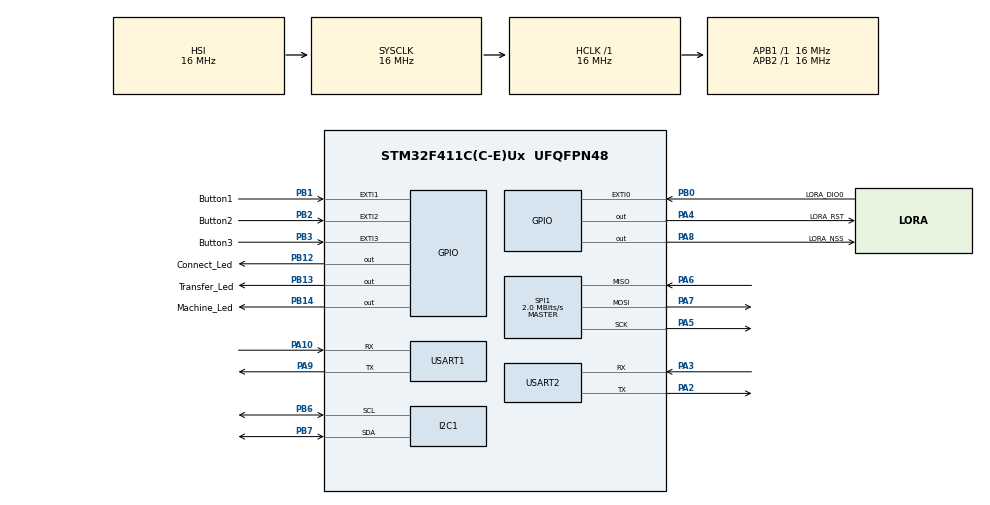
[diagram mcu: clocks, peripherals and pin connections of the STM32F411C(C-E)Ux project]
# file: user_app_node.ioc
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Dma.Request0=USART1_RX
Dma.USART1_RX.0.Direction=DMA_PERIPH_TO_MEMORY
Dma.USART1_RX.0.FIFOMode=DMA_FIFOMODE_DISABLE
Dma.USART1_RX.0.Instance=DMA2_Stream2
Dma.USART1_RX.0.MemDataAlignment=DMA_MDATAALIGN_BYTE
Dma.USART1_RX.0.MemInc=DMA_MINC_ENABLE
Dma.USART1_RX.0.Mode=DMA_NORMAL
Dma.USART1_RX.0.PeriphDataAlignment=DMA_PDATAALIGN_BYTE
Dma.USART1_RX.0.PeriphInc=DMA_PINC_DISABLE
Dma.USART1_RX.0.Priority=DMA_PRIORITY_LOW
Mcu.Family=STM32F4
Mcu.Name=STM32F411C(C-E)Ux
Mcu.Package=UFQFPN48
NVIC.DMA2_Stream2_IRQn=true\:4\:0\:true\:false\:true\:false\:true\:true
NVIC.EXTI0_IRQn=true\:3\:0\:true\:false\:true\:true\:true\:true
NVIC.EXTI1_IRQn=true\:5\:0\:true\:false\:true\:true\:true\:true
NVIC.EXTI2_IRQn=true\:5\:0\:true\:false\:true\:true\:true\:true
NVIC.EXTI3_IRQn=true\:5\:0\:true\:false\:true\:true\:true\:true
NVIC.PriorityGroup=NVIC_PRIORITYGROUP_4
NVIC.TIM3_IRQn=true\:3\:0\:true\:false\:true\:true\:true\:true
NVIC.TIM4_IRQn=true\:0\:0\:true\:false\:true\:false\:true\:true
NVIC.TimeBase=TIM4_IRQn
NVIC.TimeBaseIP=TIM4
NVIC.USART1_IRQn=true\:4\:0\:true\:false\:true\:true\:true\:true
PA10.Mode=Asynchronous
PA10.Signal=USART1_RX
PA13.Mode=Serial_Wire
PA13.Signal=SYS_JTMS-SWDIO
PA14.Mode=Serial_Wire
PA14.Signal=SYS_JTCK-SWCLK
PA2.Mode=Asynchronous
PA2.Signal=USART2_TX
PA3.Mode=Asynchronous
PA3.Signal=USART2_RX
PA4.GPIO_Label=LORA_RST
PA4.Signal=GPIO_Output
PA5.Mode=Full_Duplex_Master
PA5.Signal=SPI1_SCK
PA6.Mode=Full_Duplex_Master
PA6.Signal=SPI1_MISO
PA7.Mode=Full_Duplex_Master
PA7.Signal=SPI1_MOSI
PA8.GPIO_Label=LORA_NSS
PA8.Signal=GPIO_Output
PA9.Mode=Asynchronous
PA9.Signal=USART1_TX
PB0.GPIO_Label=LORA_DIO0
PB0.GPIO_ModeDefaultEXTI=GPIO_MODE_IT_RISING
PB0.Signal=GPXTI0
PB1.GPIO_Label=Button1
PB1.Signal=GPXTI1
PB12.GPIO_Label=Connect_Led
PB12.Signal=GPIO_Output
PB13.GPIO_Label=Transfer_Led
PB13.Signal=GPIO_Output
PB14.GPIO_Label=Machine_Led
PB14.Signal=GPIO_Output
PB2.GPIO_Label=Button2
PB2.Signal=GPXTI2
PB3.GPIO_Label=Button3
PB3.Signal=GPXTI3
PB6.Mode=I2C
PB6.Signal=I2C1_SCL
PB7.Mode=I2C
PB7.Signal=I2C1_SDA
PH0\ -\ OSC_IN.Mode=HSE-External-Oscillator
PH0\ -\ OSC_IN.Signal=RCC_OSC_IN
PH1\ -\ OSC_OUT.Mode=HSE-External-Oscillator
PH1\ -\ OSC_OUT.Signal=RCC_OSC_OUT
ProjectManager.HeapSize=0x200
ProjectManager.StackSize=0x400
ProjectManager.TargetToolchain=STM32CubeIDE
RCC.AHBFreq_Value=16000000
RCC.APB1Freq_Value=16000000
RCC.APB2Freq_Value=16000000
RCC.CortexFreq_Value=16000000
RCC.HSE_VALUE=25000000
RCC.HSI_VALUE=16000000
RCC.LSE_VALUE=32768
RCC.SYSCLKFreq_VALUE=16000000
RCC.VCOOutputFreq_Value=192000000
SPI1.BaudRatePrescaler=SPI_BAUDRATEPRESCALER_8
SPI1.CalculateBaudRate=2.0 MBits/s
SPI1.Direction=SPI_DIRECTION_2LINES
SPI1.Mode=SPI_MODE_MASTER
SPI1.VirtualType=VM_MASTER
TIM3.Period=30-1
TIM3.Prescaler=16000-1
USART1.VirtualMode=VM_ASYNC
USART2.VirtualMode=VM_ASYNC
VP_SYS_VS_tim4.Mode=TIM4
VP_TIM3_VS_ClockSourceINT.Mode=Internal
board=custom

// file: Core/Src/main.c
/* USER CODE BEGIN Header */
/**
  ******************************************************************************
  * @file           : main.c
  * @brief          : Main program body
  ******************************************************************************
  * @attention
  *
  * Copyright (c) 2025 STMicroelectronics.
  * All rights reserved.
  *
  * This software is licensed under terms that can be found in the LICENSE file
  * in the root directory of this software component.
  * If no LICENSE file comes with this software, it is provided AS-IS.
  *
  ******************************************************************************
  */
/* USER CODE END Header */
#include "main.h"
#include "bsp_sim.h"
#include "lora_network_node.h"

/* USER CODE BEGIN Includes */

volatile uint8_t test_warning_flag = 0;

/* USER CODE END Includes */

I2C_HandleTypeDef hi2c1;

SPI_HandleTypeDef hspi1;

TIM_HandleTypeDef htim3;

UART_HandleTypeDef huart1;
UART_HandleTypeDef huart2;
DMA_HandleTypeDef hdma_usart1_rx;

/* USER CODE BEGIN PV */
const char apn[]  = "m3-world"; // Change this to your Provider details
const char host[] = "tcp://mqtt.eclipseprojects.io"; // Change this to your host
const int  port = 1883;
const char username[] = "";
const char password[] = "";
const char topic[] = "lequanglam18112003@gmail.com/pub_topic";
const uint32_t timeOut =10000;
char ATcommand[80];
uint8_t buffer[160] = {0};
uint8_t ATisOK = 0;
uint8_t CGREGisOK = 0;
uint32_t previousTick;
uint16_t readValue;
char charData[15] = "hello\r\n";

void SIMTransmit(char *cmd)
{
  memset(buffer,0,sizeof(buffer));
  HAL_UART_Transmit(&huart1,(uint8_t *)cmd,strlen(cmd),1000);
  HAL_UART_Receive (&huart1, buffer, 100, 1000);
}

void mqttPublish(void)
{
  ATisOK = 0;
  CGREGisOK = 0;

  // Check for OK response for AT
  previousTick =  HAL_GetTick();
  while(!ATisOK && previousTick  + timeOut >  HAL_GetTick())
  {
    SIMTransmit("AT\r\n");
    HAL_Delay(1000);
    if(strstr((char *)buffer,"OK"))
    {
      ATisOK = 1;
      SIMTransmit("ATE0\r\n");
      //HAL_Delay(1000);
    }
  }

  // Check for network registration.
  if(ATisOK)
  {
    previousTick =  HAL_GetTick();
    while(!CGREGisOK  && previousTick  + timeOut >  HAL_GetTick())
    {
      SIMTransmit("AT+CGREG?\r\n");
      if(strstr((char *)buffer,"+CGREG: 0,1")) // Use 0,5 For Roaming
      {
        CGREGisOK = 1;
      }
    }
  }

  // If registered
  if(CGREGisOK)
  {
	sprintf(ATcommand,"AT+CGDCONT=1,\"IP\",\"%s\"\r\n",apn); // Specify the value of  PDP context
	SIMTransmit(ATcommand);
	HAL_Delay(2000);
	SIMTransmit("AT+CMQTTSTART\r\n"); // Start MQTT Service
	SIMTransmit("AT+CMQTTACCQ=0,\"client01\"\r\n"); // Acquire a Client
	sprintf(ATcommand,"AT+CMQTTCONNECT=0,\"%s:%d\",60,1\r\n",host,port); // Connect to a MQTT Server
	// sprintf(ATcommand,"AT+CMQTTCONNECT=0,\"%s:%d\",60,1,%s,%s\r\n",host,port,username,password);
	SIMTransmit(ATcommand);
	sprintf(ATcommand,"AT+CMQTTTOPIC=0,%d\r\n",strlen(topic)); // Set the topic for publish message
	SIMTransmit(ATcommand);
	sprintf(ATcommand,"%s\r\n",topic);
	SIMTransmit(ATcommand);
	sprintf(ATcommand,"AT+CMQTTPAYLOAD=0,%d\r\n",strlen(charData)-2); // Set the payload
	SIMTransmit(ATcommand);
	SIMTransmit(charData);
	SIMTransmit("AT+CMQTTPUB=0,1,60\r\n"); // Publish
	HAL_Delay(500);
	SIMTransmit("AT+CMQTTDISC=0,120\r\n"); // Disconnect from Server
	SIMTransmit("AT+CMQTTREL=0\r\n"); // Release the Client
	SIMTransmit("AT+CMQTTSTOP\r\n"); // Stop MQTT Service
  }
}

void HAL_GPIO_EXTI_Callback(uint16_t GPIO_Pin){
	if(GPIO_Pin == Button1_Pin){
		test_warning_flag = 1;
	}

	else if(GPIO_Pin == LORA_DIO0_Pin){
		lora_network_irq_handle();
	}

}
/* USER CODE END PV */

void SystemClock_Config(void);
static void MX_GPIO_Init(void);
static void MX_DMA_Init(void);
static void MX_SPI1_Init(void);
static void MX_I2C1_Init(void);
static void MX_USART1_UART_Init(void);
static void MX_USART2_UART_Init(void);
static void MX_TIM3_Init(void);

int main(void)
{

  /* MCU Configuration--------------------------------------------------------*/

  /* Reset of all peripherals, Initializes the Flash interface and the Systick. */
  HAL_Init();

  /* Configure the system clock */
  SystemClock_Config();

  /* Initialize all configured peripherals */
  MX_GPIO_Init();
  MX_DMA_Init();
  MX_SPI1_Init();
  MX_I2C1_Init();
  MX_USART1_UART_Init();
  MX_USART2_UART_Init();
  MX_TIM3_Init();
  /* USER CODE BEGIN 2 */

  //bsp_sim_init_mqtt();

  //HAL_Delay(60000);
  lora_network_init();
  /* USER CODE END 2 */

  /* Infinite loop */
  /* USER CODE BEGIN WHILE */
  while (1)
  {
	  lora_network_process();
    /* USER CODE END WHILE */

  }
}

void SystemClock_Config(void)
{
  RCC_OscInitTypeDef RCC_OscInitStruct = {0};
  RCC_ClkInitTypeDef RCC_ClkInitStruct = {0};

  /** Configure the main internal regulator output voltage
  */
  __HAL_RCC_PWR_CLK_ENABLE();
  __HAL_PWR_VOLTAGESCALING_CONFIG(PWR_REGULATOR_VOLTAGE_SCALE1);

  /** Initializes the RCC Oscillators according to the specified parameters
  * in the RCC_OscInitTypeDef structure.
  */
  RCC_OscInitStruct.OscillatorType = RCC_OSCILLATORTYPE_HSI;
  RCC_OscInitStruct.HSIState = RCC_HSI_ON;
  RCC_OscInitStruct.HSICalibrationValue = RCC_HSICALIBRATION_DEFAULT;
  RCC_OscInitStruct.PLL.PLLState = RCC_PLL_NONE;
  if (HAL_RCC_OscConfig(&RCC_OscInitStruct) != HAL_OK)
  {
    Error_Handler();
  }

  /** Initializes the CPU, AHB and APB buses clocks
  */
  RCC_ClkInitStruct.ClockType = RCC_CLOCKTYPE_HCLK|RCC_CLOCKTYPE_SYSCLK
                              |RCC_CLOCKTYPE_PCLK1|RCC_CLOCKTYPE_PCLK2;
  RCC_ClkInitStruct.SYSCLKSource = RCC_SYSCLKSOURCE_HSI;
  RCC_ClkInitStruct.AHBCLKDivider = RCC_SYSCLK_DIV1;
  RCC_ClkInitStruct.APB1CLKDivider = RCC_HCLK_DIV1;
  RCC_ClkInitStruct.APB2CLKDivider = RCC_HCLK_DIV1;

  if (HAL_RCC_ClockConfig(&RCC_ClkInitStruct, FLASH_LATENCY_0) != HAL_OK)
  {
    Error_Handler();
  }
}

static void MX_I2C1_Init(void)
{

  hi2c1.Instance = I2C1;
  hi2c1.Init.ClockSpeed = 100000;
  hi2c1.Init.DutyCycle = I2C_DUTYCYCLE_2;
  hi2c1.Init.OwnAddress1 = 0;
  hi2c1.Init.AddressingMode = I2C_ADDRESSINGMODE_7BIT;
  hi2c1.Init.DualAddressMode = I2C_DUALADDRESS_DISABLE;
  hi2c1.Init.OwnAddress2 = 0;
  hi2c1.Init.GeneralCallMode = I2C_GENERALCALL_DISABLE;
  hi2c1.Init.NoStretchMode = I2C_NOSTRETCH_DISABLE;
  if (HAL_I2C_Init(&hi2c1) != HAL_OK)
  {
    Error_Handler();
  }

}

static void MX_SPI1_Init(void)
{

  /* SPI1 parameter configuration*/
  hspi1.Instance = SPI1;
  hspi1.Init.Mode = SPI_MODE_MASTER;
  hspi1.Init.Direction = SPI_DIRECTION_2LINES;
  hspi1.Init.DataSize = SPI_DATASIZE_8BIT;
  hspi1.Init.CLKPolarity = SPI_POLARITY_LOW;
  hspi1.Init.CLKPhase = SPI_PHASE_1EDGE;
  hspi1.Init.NSS = SPI_NSS_SOFT;
  hspi1.Init.BaudRatePrescaler = SPI_BAUDRATEPRESCALER_8;
  hspi1.Init.FirstBit = SPI_FIRSTBIT_MSB;
  hspi1.Init.TIMode = SPI_TIMODE_DISABLE;
  hspi1.Init.CRCCalculation = SPI_CRCCALCULATION_DISABLE;
  hspi1.Init.CRCPolynomial = 10;
  if (HAL_SPI_Init(&hspi1) != HAL_OK)
  {
    Error_Handler();
  }

}

static void MX_TIM3_Init(void)
{

  TIM_ClockConfigTypeDef sClockSourceConfig = {0};
  TIM_MasterConfigTypeDef sMasterConfig = {0};

  htim3.Instance = TIM3;
  htim3.Init.Prescaler = 16000-1;
  htim3.Init.CounterMode = TIM_COUNTERMODE_UP;
  htim3.Init.Period = 30-1;
  htim3.Init.ClockDivision = TIM_CLOCKDIVISION_DIV1;
  htim3.Init.AutoReloadPreload = TIM_AUTORELOAD_PRELOAD_DISABLE;
  if (HAL_TIM_Base_Init(&htim3) != HAL_OK)
  {
    Error_Handler();
  }
  sClockSourceConfig.ClockSource = TIM_CLOCKSOURCE_INTERNAL;
  if (HAL_TIM_ConfigClockSource(&htim3, &sClockSourceConfig) != HAL_OK)
  {
    Error_Handler();
  }
  sMasterConfig.MasterOutputTrigger = TIM_TRGO_RESET;
  sMasterConfig.MasterSlaveMode = TIM_MASTERSLAVEMODE_DISABLE;
  if (HAL_TIMEx_MasterConfigSynchronization(&htim3, &sMasterConfig) != HAL_OK)
  {
    Error_Handler();
  }

}

static void MX_USART1_UART_Init(void)
{

  huart1.Instance = USART1;
  huart1.Init.BaudRate = 115200;
  huart1.Init.WordLength = UART_WORDLENGTH_8B;
  huart1.Init.StopBits = UART_STOPBITS_1;
  huart1.Init.Parity = UART_PARITY_NONE;
  huart1.Init.Mode = UART_MODE_TX_RX;
  huart1.Init.HwFlowCtl = UART_HWCONTROL_NONE;
  huart1.Init.OverSampling = UART_OVERSAMPLING_16;
  if (HAL_UART_Init(&huart1) != HAL_OK)
  {
    Error_Handler();
  }

}

static void MX_USART2_UART_Init(void)
{

  huart2.Instance = USART2;
  huart2.Init.BaudRate = 115200;
  huart2.Init.WordLength = UART_WORDLENGTH_8B;
  huart2.Init.StopBits = UART_STOPBITS_1;
  huart2.Init.Parity = UART_PARITY_NONE;
  huart2.Init.Mode = UART_MODE_TX_RX;
  huart2.Init.HwFlowCtl = UART_HWCONTROL_NONE;
  huart2.Init.OverSampling = UART_OVERSAMPLING_16;
  if (HAL_UART_Init(&huart2) != HAL_OK)
  {
    Error_Handler();
  }

}

static void MX_DMA_Init(void)
{

  /* DMA controller clock enable */
  __HAL_RCC_DMA2_CLK_ENABLE();

  /* DMA interrupt init */
  /* DMA2_Stream2_IRQn interrupt configuration */
  HAL_NVIC_SetPriority(DMA2_Stream2_IRQn, 4, 0);
  HAL_NVIC_EnableIRQ(DMA2_Stream2_IRQn);

}

static void MX_GPIO_Init(void)
{
  GPIO_InitTypeDef GPIO_InitStruct = {0};

  /* GPIO Ports Clock Enable */
  __HAL_RCC_GPIOH_CLK_ENABLE();
  __HAL_RCC_GPIOA_CLK_ENABLE();
  __HAL_RCC_GPIOB_CLK_ENABLE();

  /*Configure GPIO pin Output Level */
  HAL_GPIO_WritePin(GPIOA, LORA_RST_Pin|LORA_NSS_Pin, GPIO_PIN_RESET);

  /*Configure GPIO pin Output Level */
  HAL_GPIO_WritePin(GPIOB, Connect_Led_Pin|Transfer_Led_Pin|Machine_Led_Pin, GPIO_PIN_RESET);

  /*Configure GPIO pins : LORA_RST_Pin LORA_NSS_Pin */
  GPIO_InitStruct.Pin = LORA_RST_Pin|LORA_NSS_Pin;
  GPIO_InitStruct.Mode = GPIO_MODE_OUTPUT_PP;
  GPIO_InitStruct.Pull = GPIO_NOPULL;
  GPIO_InitStruct.Speed = GPIO_SPEED_FREQ_LOW;
  HAL_GPIO_Init(GPIOA, &GPIO_InitStruct);

  /*Configure GPIO pins : LORA_DIO0_Pin Button1_Pin Button2_Pin Button3_Pin */
  GPIO_InitStruct.Pin = LORA_DIO0_Pin|Button1_Pin|Button2_Pin|Button3_Pin;
  GPIO_InitStruct.Mode = GPIO_MODE_IT_RISING;
  GPIO_InitStruct.Pull = GPIO_NOPULL;
  HAL_GPIO_Init(GPIOB, &GPIO_InitStruct);

  /*Configure GPIO pins : Connect_Led_Pin Transfer_Led_Pin Machine_Led_Pin */
  GPIO_InitStruct.Pin = Connect_Led_Pin|Transfer_Led_Pin|Machine_Led_Pin;
  GPIO_InitStruct.Mode = GPIO_MODE_OUTPUT_PP;
  GPIO_InitStruct.Pull = GPIO_NOPULL;
  GPIO_InitStruct.Speed = GPIO_SPEED_FREQ_LOW;
  HAL_GPIO_Init(GPIOB, &GPIO_InitStruct);

  /* EXTI interrupt init*/
  HAL_NVIC_SetPriority(EXTI0_IRQn, 3, 0);
  HAL_NVIC_EnableIRQ(EXTI0_IRQn);

  HAL_NVIC_SetPriority(EXTI1_IRQn, 5, 0);
  HAL_NVIC_EnableIRQ(EXTI1_IRQn);

  HAL_NVIC_SetPriority(EXTI2_IRQn, 5, 0);
  HAL_NVIC_EnableIRQ(EXTI2_IRQn);

  HAL_NVIC_SetPriority(EXTI3_IRQn, 5, 0);
  HAL_NVIC_EnableIRQ(EXTI3_IRQn);

}

void HAL_TIM_PeriodElapsedCallback(TIM_HandleTypeDef *htim)
{
  if (htim->Instance == TIM4) {
    HAL_IncTick();
  }
}

void Error_Handler(void)
{
  __disable_irq();
  while (1)
  {
  }
}
